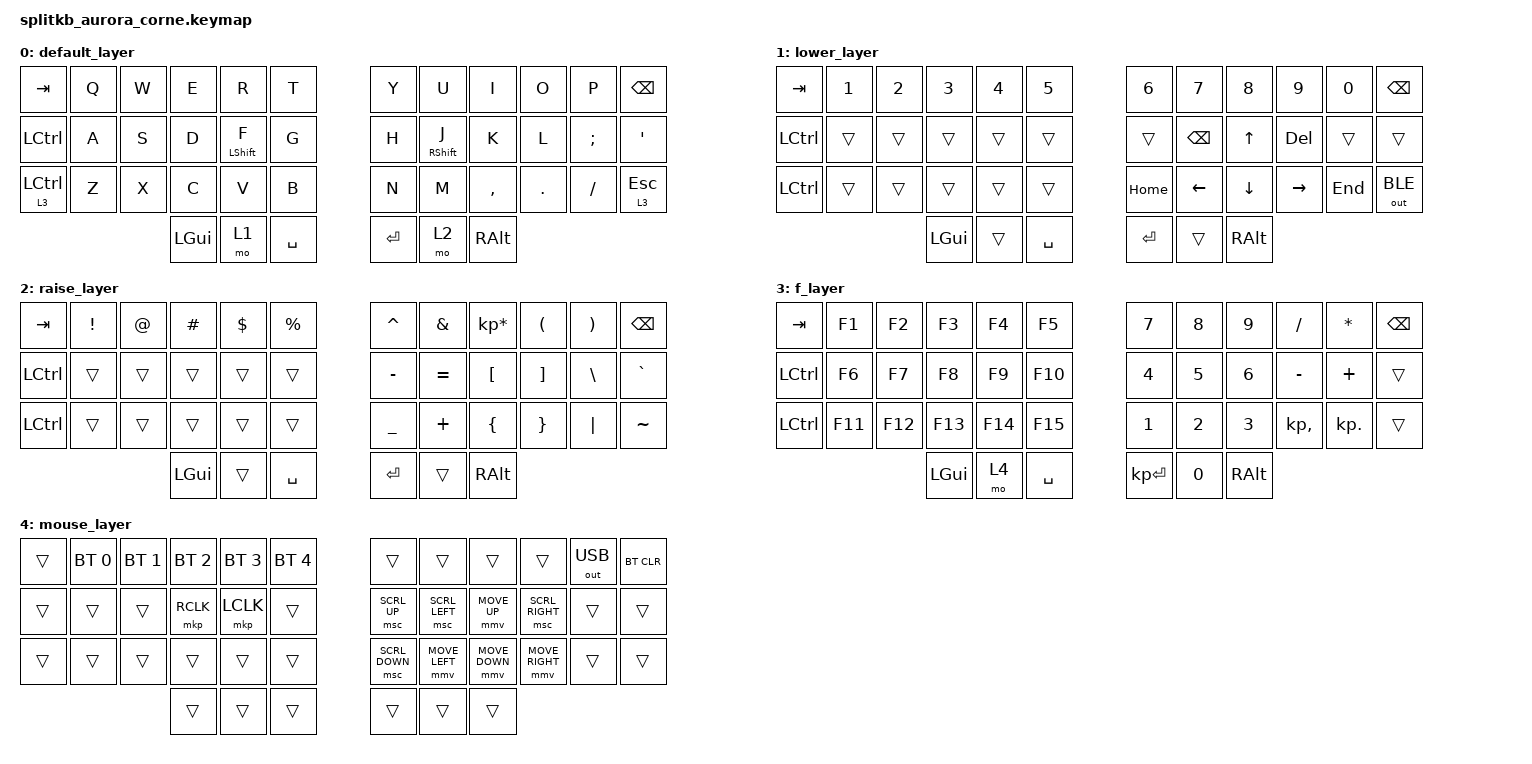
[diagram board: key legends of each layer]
/*
 * Copyright (c) 2020 The ZMK Contributors
 *
 * SPDX-License-Identifier: MIT
 */

#include <behaviors.dtsi>
#include <dt-bindings/zmk/keys.h>
#include <dt-bindings/zmk/bt.h>
#include <dt-bindings/zmk/outputs.h>
#include <dt-bindings/zmk/pointing.h>

/ {
        behaviors {
                // Define a custom mod-tap behavior with a longer tapping term
                hm_shift: homerow_mod_shift {
                        compatible = "zmk,behavior-hold-tap";
                        label = "HOMEROW_MOD_SHIFT";
                        #binding-cells = <2>;
                        tapping-term-ms = <400>; // Increased from default 200ms
                        flavor = "hold-preferred"; // Or choose another flavor if preferred
                        bindings = <&kp>, <&kp>;
                };
        };

        keymap {
                compatible = "zmk,keymap";

                default_layer {
//                      -----------------------------------------------------------------------------------------
//                      |  TAB |  Q  |  W  |  E  |  R    |  T  |         |  Y  |  U    |  I  |  O  |  P  | BKSP |
//                      | CTRL |  A  |  S  |  D  | SHF F |  G  |         |  H  | SHF J |  K  |  L  |  ;  |  '   |
//                      | CTRL |  Z  |  X  |  C  |  V    |  B  |         |  N  |  M    |  ,  |  .  |  /  | ESC  |
//                      -----------------------------------------------------------------------------------------
//                                         | GUI | LWR   | SPC |         | ENT | RSE   | ALT |
//                      -----------------------------------------------------------------------------------------
                        bindings = <
   &kp TAB      &kp Q    &kp W    &kp E    &kp R                                &kp T              &kp Y    &kp U                                &kp I      &kp O     &kp P      &kp BSPC
   &kp LCTRL    &kp A    &kp S    &kp D    &hm_shift LSHFT F                    &kp G              &kp H    &hm_shift RSHFT J                    &kp K      &kp L     &kp SEMI   &kp SQT
   &lt 3 LCTRL    &kp Z    &kp X    &kp C    &kp V                              &kp B              &kp N    &kp M                                &kp COMMA  &kp DOT   &kp FSLH   &lt 3 ESC
                                  &kp LGUI &mo 1         &kp SPACE                                 &kp RET  &mo 2                                &kp RALT
                        >;
                };
                lower_layer {
//                      -------------------------------------------------------------------------------------------
//                      |  TAB |  1  |  2  |  3  |  4  |  5  |             |  6   |  7   |  8  |  9   |  0  | BKSP |
//                      | CTRL | BT1 | BT2 | BT3 |     |     |             |      | BSPC | UP  | DEL  | USB | BTCLR|
//                      | CTRL |     |     |     |     |     |             | HOME | LFT  | DWN | RGT  | END | BLE  |
//                      -------------------------------------------------------------------------------------------
//                                         | GUI |     | SPC |             | ENT  |      | ALT |
//                      -------------------------------------------------------------------------------------------
                        bindings = <
   &kp TAB      &kp N1       &kp N2        &kp N3       &kp N4       &kp N5               &kp N6     &kp N7    &kp N8     &kp N9      &kp N0         &kp BSPC
   &kp LCTRL    &trans       &trans        &trans       &trans       &trans               &trans     &kp BSPC  &kp UP     &kp DEL     &trans         &trans
   &kp LCTRL    &trans       &trans        &trans       &trans       &trans               &kp HOME   &kp LEFT  &kp DOWN   &kp RIGHT   &kp END        &out OUT_BLE
                                           &kp LGUI     &trans       &kp SPACE            &kp RET    &trans    &kp RALT
                        >;
                };

                raise_layer {
//                      -----------------------------------------------------------------------------------------
//                      |  TAB |  !  |  @  |  #  |  $  |  %  |             |  ^  |  &  |  *  |  (  |  )  | BKSP |
//                      | CTRL |     |     |     |     |     |             |  -  |  =  |  [  |  ]  |  \  |  `   |
//                      | CTRL |     |     |     |     |     |             |  _  |  +  |  {  |  }  | "|" |  ~   |
//                      -----------------------------------------------------------------------------------------
//                                         | GUI |     | SPC |             | ENT |     | ALT |
//                      -----------------------------------------------------------------------------------------
                        bindings = <
   &kp  TAB    &kp EXCL   &kp AT &kp HASH   &kp DLLR   &kp PRCNT           &kp CARET   &kp AMPS    &kp KP_MULTIPLY   &kp LPAR   &kp RPAR   &kp BSPC
   &kp LCTRL   &trans     &trans &trans     &trans     &trans              &kp MINUS   &kp EQUAL   &kp LBKT          &kp RBKT   &kp BSLH   &kp GRAVE
   &kp LCTRL   &trans     &trans &trans     &trans     &trans              &kp UNDER   &kp PLUS    &kp LBRC          &kp RBRC   &kp PIPE   &kp TILDE
                                 &kp LGUI   &trans     &kp SPACE           &kp RET     &trans      &kp RALT
                        >;
                };
                f_layer {
//                      -----------------------------------------------------------------------------------------
//                      |  TAB | F1  | F2  | F3  | F4  | F5  |             |  7  |  8  |  9  |     |     | BKSP |
//                      | CTRL | F6  | F7  | F8  | F9  | F10 |             |  4  |  5  |  6  |  /  |  *  |      |
//                      | CTRL | F11 | F12 | F13 | F14 | F15 |             |  1  |  2  |  3  |  -  |  +  |      |
//                      -----------------------------------------------------------------------------------------
//                                         | GUI |     | SPC |             | ENT |  0  | ALT |
//                      -----------------------------------------------------------------------------------------
                        bindings = <
   &kp  TAB    &kp F1    &kp F2  &kp F3     &kp F4     &kp F5            &kp N7  &kp N8   &kp N9  &kp SLASH    &kp ASTERISK  &kp BSPC
   &kp LCTRL   &kp F6    &kp F7  &kp F8     &kp F9     &kp F10           &kp N4  &kp N5   &kp N6  &kp MINUS    &kp PLUS      &trans
   &kp LCTRL   &kp F11   &kp F12 &kp F13    &kp F14    &kp F15           &kp N1  &kp N2   &kp N3  &kp KP_COMMA &kp KP_DOT    &trans
                                 &kp LGUI   &mo 4      &kp SPACE         &kp KP_ENTER     &kp N0  &kp RALT
                        >;
                };          
                mouse_layer { // Layer 4 (Corrected)
//                      -----------------------------------------------------------------------------------------
//                      |     |     |     |     |     |     |         |     |     |     |     |     |      |
//                      |     |     |     | RClk| LClk|     |         | ScU | ScL | MvU | ScR |     |      |
//                      |     |     |     |     |     |     |         | ScD | MvL | MvD | MvR |     |      |
//                      -----------------------------------------------------------------------------------------
//                                         |     |     |     |         |     |     |     |
//                      -----------------------------------------------------------------------------------------
                        bindings = <
                &trans  &bt BT_SEL 0   &bt BT_SEL 1  &bt BT_SEL 2  &bt BT_SEL 3 &bt BT_SEL 4       &trans          &trans          &trans          &trans          &out OUT_USB   &bt BT_CLR
                &trans  &trans         &trans        &mkp RCLK     &mkp LCLK    &trans             &msc SCRL_UP    &msc SCRL_LEFT  &mmv MOVE_UP    &msc SCRL_RIGHT &trans &trans
                &trans  &trans         &trans        &trans        &trans       &trans             &msc SCRL_DOWN  &mmv MOVE_LEFT  &mmv MOVE_DOWN  &mmv MOVE_RIGHT &trans &trans
                                                     &trans        &trans       &trans             &trans          &trans          &trans
                        >;
                };
        };
};
